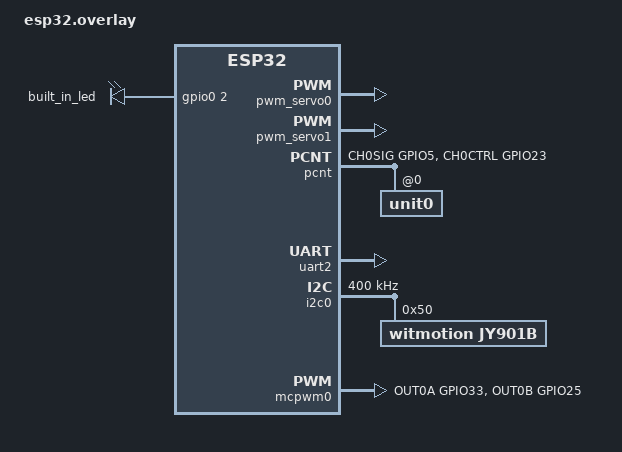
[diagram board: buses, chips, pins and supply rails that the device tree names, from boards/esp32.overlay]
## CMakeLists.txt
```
cmake_minimum_required(VERSION 3.20.0)
set(CMAKE_C_STANDARD 11)

# set(OVERLAY_CONFIG thread_analyzer.conf)
list(APPEND ZEPHYR_EXTRA_MODULES ${CMAKE_CURRENT_LIST_DIR}/libmicroros)

find_package(Zephyr REQUIRED HINTS $ENV{ZEPHYR_BASE})

# must be after finding zephyr
project(nms1)

target_include_directories(app PRIVATE
        include
)
target_sources(app PRIVATE
        src/arm_fir_f32.c
        src/encoder_pcnt.c
        src/main.c
        src/micro_ros.c
        src/nms1.c
)
```

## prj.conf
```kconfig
# peripherials
CONFIG_GPIO=y
CONFIG_PWM=y
CONFIG_SERVO=y

CONFIG_SERIAL=y
CONFIG_UART_INTERRUPT_DRIVEN=y
CONFIG_UART_LINE_CTRL=y

CONFIG_I2C=y

# sensors
CONFIG_SENSOR=y
CONFIG_PCNT_ESP32=y
CONFIG_JY901B=y

# runtime library
CONFIG_NEWLIB_LIBC=y
CONFIG_NEWLIB_LIBC_NANO=n

# posix api
CONFIG_POSIX_API=y
CONFIG_PTHREAD_IPC=n

# os serivices
CONFIG_LOG=y
CONFIG_LOG_DEFAULT_LEVEL=3
CONFIG_PRINTK=y

# thread
CONFIG_MAIN_THREAD_PRIORITY=5
CONFIG_MAIN_STACK_SIZE=1024

# module
# CONFIG_CMSIS_DSP=y
# CONFIG_CMSIS_DSP_FILTERING=y

CONFIG_MICROROS=y
CONFIG_MICROROS_TRANSPORT_SERIAL=y
CONFIG_MICROROS_PUBLISHERS="2"
CONFIG_MICROROS_SUBSCRIBERS="2"
CONFIG_MICROROS_RMW_HISTORIC="10"
```

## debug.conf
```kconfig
# compiler
CONFIG_DEBUG=y
CONFIG_DEBUG_OPTIMIZATIONS=y

# peripherials
CONFIG_SERIAL=y

# os serivices
CONFIG_LOG_DEFAULT_LEVEL=4
CONFIG_ASSERT=y
CONFIG_CONSOLE=y
CONFIG_UART_CONSOLE=y
```

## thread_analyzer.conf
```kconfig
CONFIG_THREAD_ANALYZER=y
CONFIG_THREAD_ANALYZER_USE_PRINTK=y
CONFIG_THREAD_ANALYZER_AUTO=y
CONFIG_THREAD_ANALYZER_AUTO_INTERVAL=5
CONFIG_THREAD_NAME=y
```

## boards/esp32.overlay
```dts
/ {
    aliases {
        encoder = &pcnt;
        imu = &jy901b;

        led = &built_in_led;
        steer-servo = &pwm_servo0;
        motor-servo = &pwm_servo1;

        micro-ros-serial = &uart2;
    };

    leds {
        compatible = "gpio-leds";
        built_in_led: led_0 {
            gpios = <&gpio0 2 GPIO_ACTIVE_HIGH>;
        };
    };

    servos {
        pwm_servo0: pwm_servo0 {
            compatible = "pwm-servo";
            // pwms = <&ledc0 0 PWM_MSEC(20) PWM_POLARITY_NORMAL>;
            pwms = <&mcpwm0 0 PWM_MSEC(20) PWM_POLARITY_NORMAL>;
            min-pulse = <PWM_USEC(1000)>;
            neutral-pulse = <PWM_USEC(1500)>;
            max-pulse = <PWM_USEC(2000)>;
            initial-duty = <0>;
        };
        pwm_servo1: pwm_servo1 {
            compatible = "pwm-servo";
            // pwms = <&ledc0 1 PWM_MSEC(20) PWM_POLARITY_NORMAL>;
            pwms = <&mcpwm0 1 PWM_MSEC(20) PWM_POLARITY_NORMAL>;
            min-pulse = <PWM_USEC(1000)>;
            neutral-pulse = <PWM_USEC(1500)>;
            max-pulse = <PWM_USEC(2000)>;
            initial-duty = <0>;
        };
    };
};

&pinctrl {
    pcnt_default: pcnt_default {
        group1 {
            pinmux = <PCNT0_CH0SIG_GPIO5>, <PCNT0_CH0CTRL_GPIO23>;
            bias-pull-up;
        };
    };

    // ledc_default: ledc_default {
    //     group1 {
    //         pinmux = <LEDC_CH0_GPIO33>, <LEDC_CH1_GPIO25>;
    //         output-enable;
    //     };
    // };

    mcpwm0_default: mcpwm0_default {
      group1 {
        pinmux = <MCPWM0_OUT0A_GPIO33>, <MCPWM0_OUT0B_GPIO25>;
        output-enable;
      };
    };
};

&pcnt {
    pinctrl-0 = <&pcnt_default>;
    pinctrl-names = "default";
    status = "okay";
    #address-cells = <1>;
    #size-cells = <0>;
    unit0@0 {
        reg = <0>;
        filter = <100>;
        #address-cells = <1>;
        #size-cells = <0>;
        channelA@0 {
            reg = <0>;
            sig-pos-mode = <2>;
            sig-neg-mode = <1>;
            ctrl-h-mode = <0>;
            ctrl-l-mode = <1>;
        };
    };
};

&uart2 {
    status = "okay";
};

&i2c0 {
    clock-frequency = <I2C_BITRATE_FAST>;
    jy901b: jy901b@50 {
        compatible = "witmotion,jy901b";
        reg = <0x50>;
        status = "okay";
    };
};

// &ledc0 {
//     pinctrl-0 = <&ledc_default>;
//     pinctrl-names = "default";
//     status = "okay";
//     #address-cells = <1>;
//     #size-cells = <0>;
//     #pwm-cells = <3>;
//     channel0@0 {
//       reg = <0x0>;
//       timer = <0>;
//     };
//     channel1@1 {
//       reg = <0x1>;
//       timer = <0>;
//     };
// };

&mcpwm0 {
    pinctrl-0 = <&mcpwm0_default>;
    pinctrl-names = "default";
    status = "okay";
    prescale = <(160 - 1)>;
    prescale-timer0 = <(100 - 1)>;
};
```

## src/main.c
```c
// zephyr include
#include <zephyr/device.h>
#include <zephyr/drivers/gpio.h>
#include <zephyr/drivers/pwm.h>
#include <zephyr/drivers/sensor.h>
#include <zephyr/drivers/sensor/jy901b.h>
#include <zephyr/kernel.h>
#include <zephyr/logging/log.h>

// micro ros include
#include <microros_transports.h>
#include <rcl/error_handling.h>
#include <rcl/rcl.h>
#include <rclc/executor.h>
#include <rclc/rclc.h>
#include <rmw_microros/rmw_microros.h>

// ros msg include
#include <sensor_msgs/msg/imu.h>

// project include
#include "nms1/common.h"
#include "nms1/nms1.h"

LOG_MODULE_REGISTER(main);

static const struct device *const encoder = DEVICE_DT_GET(DT_ALIAS(encoder));
static const struct device *const imu = DEVICE_DT_GET(DT_ALIAS(imu));

static const struct gpio_dt_spec led = GPIO_DT_SPEC_GET(DT_ALIAS(led), gpios);

static const struct device *const steer = DEVICE_DT_GET(DT_ALIAS(steer_servo));
static const struct device *const drive = DEVICE_DT_GET(DT_ALIAS(motor_servo));

static const struct device *const micro_ros_serial =
    DEVICE_DT_GET(DT_ALIAS(micro_ros_serial));

static struct nms1 nms1;

int main(void) {
  int ret;

  // hardware check
  if (!device_is_ready(encoder)) {
    LOG_ERR("Device %s is not ready.", encoder->name);
    return 0;
  }

  if (!device_is_ready(imu)) {
    LOG_ERR("Device %s is not ready.", imu->name);
    return 0;
  }

  if (!gpio_is_ready_dt(&led)) {
    LOG_ERR("Device %s is not ready.", led.port->name);
    return 0;
  }

  if (!device_is_ready(steer)) {
    LOG_ERR("Device %s is not ready.", steer->name);
    return 0;
  }

  if (!device_is_ready(drive)) {
    LOG_ERR("Device %s is not ready.", drive->name);
    return 0;
  }

  if (!device_is_ready(micro_ros_serial)) {
    LOG_ERR("Device %s is not ready.", micro_ros_serial->name);
    return 0;
  }

  // init
  ret = nms1_init(&nms1, encoder, imu, steer, drive, micro_ros_serial);
  if (ret != 0) {
    LOG_ERR("Failed to init nms1.");
    return ret;
  }

  while (true) {
    k_msleep(1000);
  }
  return 0;
}
```

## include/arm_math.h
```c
/**
 * @file arm_math.h
 * @brief CMSIS-DSP implementation in ANSI C.
 * 
 */

// glibc include
#include <stdint.h>

#ifndef __arm__
#ifndef ARM_MATH_H
#define ARM_MATH_H

typedef float float32_t;

/**
 * @brief Instance structure for the floating-point FIR filter.
 * 
 * @note @p stateIndex is added to make a circular buffer.
 * 
 */
typedef struct {
  uint16_t numTaps;
  uint16_t stateIndex;
  float32_t *pState;
  const float32_t *pCoeffs;
} arm_fir_instance_f32;

/**
 * @brief  Initialization function for the floating-point FIR filter.
 * @param[in,out] S          points to an instance of the floating-point FIR
 * filter structure.
 * @param[in]     numTaps    Number of filter coefficients in the filter.
 * @param[in]     pCoeffs    points to the filter coefficients.
 * @param[in]     pState     points to the state buffer.
 * @param[in]     blockSize  number of samples that are processed at a time.
 */
void arm_fir_init_f32(arm_fir_instance_f32 *S, uint16_t numTaps,
                      const float32_t *pCoeffs, float32_t *pState,
                      uint32_t blockSize);

/**
 * @brief Processing function for the floating-point FIR filter.
 * @param[in]  S          points to an instance of the floating-point FIR
 * structure.
 * @param[in]  pSrc       points to the block of input data.
 * @param[out] pDst       points to the block of output data.
 * @param[in]  blockSize  number of samples to process.
 */
void arm_fir_f32(arm_fir_instance_f32 *S, const float32_t *pSrc,
                 float32_t *pDst, uint32_t blockSize);

#endif  // ARM_MATH_H
#endif  // __arm__
```

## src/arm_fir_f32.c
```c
/**
 * @file arm_fir_f32.c
 * @brief CMSIS-DSP arm_fir_f32 implementation in ANSI C.
 * 
 * Reference design from: [ESP-DSP](https://github.com/espressif/esp-dsp).
 *
 */

// glibc include
#include <string.h>

// arm math include
#include <arm_math.h>

// zephyr include
#include <zephyr/kernel.h>

#ifndef __arm__

void arm_fir_init_f32(arm_fir_instance_f32 *S, uint16_t numTaps,
                      const float32_t *pCoeffs, float32_t *pState,
                      uint32_t blockSize) {
  S->numTaps = numTaps;
  S->stateIndex = 0;
  S->pCoeffs = pCoeffs;

  memset(pState, 0, sizeof(float32_t) * blockSize);
  
  S->pState = pState;
}

void arm_fir_f32(arm_fir_instance_f32 *S, const float32_t *pSrc,
                 float32_t *pDst, uint32_t blockSize) {
  for (int i = 0; i < blockSize; i++) {
    float acc = 0;
    int coeff_pos = 0;
    S->pState[S->stateIndex] = pSrc[i];
    S->stateIndex++;
    if (S->stateIndex >= S->numTaps) {
      S->stateIndex = 0;
    }
    for (int n = S->stateIndex; n < S->numTaps; n++) {
      acc += S->pCoeffs[coeff_pos++] * S->pState[n];
    }
    for (int n = 0; n < S->stateIndex; n++) {
      acc += S->pCoeffs[coeff_pos++] * S->pState[n];
    }
    pDst[i] = acc;
  }
}

#endif  // __arm__
```

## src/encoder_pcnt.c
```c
#include "nms1/encoder_pcnt.h"

// glibc include
#include <stdbool.h>
#include <stdint.h>

// zephyr include
#include <zephyr/device.h>
#include <zephyr/drivers/sensor.h>
#include <zephyr/logging/log.h>
#include <zephyr/sys/util.h>

LOG_MODULE_REGISTER(encoder_pcnt);

/* static function declaration -----------------------------------------------*/
static void encoder_pcnt_trigger_handler(const struct device* dev,
                                         const struct sensor_trigger* trig);

/* function definition -------------------------------------------------------*/
int encoder_pcnt_init(struct encoder_pcnt* encoder, const struct device* pcnt) {
  encoder->dev = pcnt;
  encoder->trig = (struct sensor_trigger){
      .chan = SENSOR_CHAN_ROTATION,
      .type = SENSOR_TRIG_THRESHOLD,
  };
  encoder->triggered = false;
  encoder->wrapped_times = 0;

  int ret;
  struct sensor_value val;

  val.val1 = 32767;
  ret = sensor_attr_set(encoder->dev, SENSOR_CHAN_ROTATION,
                        SENSOR_ATTR_UPPER_THRESH, &val);
  if (ret != 0) {
    LOG_ERR("Device %s failed to set upper threshold.\n", encoder->dev->name);
    return ret;
  }

  val.val1 = -32767;
  ret = sensor_attr_set(encoder->dev, SENSOR_CHAN_ROTATION,
                        SENSOR_ATTR_LOWER_THRESH, &val);
  if (ret != 0) {
    LOG_ERR("Device %s failed to set lower threshold.\n", encoder->dev->name);
    return ret;
  }

  ret = sensor_trigger_set(encoder->dev, &encoder->trig,
                           encoder_pcnt_trigger_handler);
  if (ret != 0) {
    LOG_ERR("Device %s failed to set trigger.\n", encoder->dev->name);
    return ret;
  }

  return 0;
}

int encoder_pcnt_get_count(const struct encoder_pcnt* encoder, int64_t* count) {
  int ret;
  struct sensor_value val;

  ret = sensor_sample_fetch(encoder->dev);
  if (ret != 0) {
    LOG_ERR("Device %s failed to fetch sample.\n", encoder->dev->name);
    return ret;
  }

  ret = sensor_channel_get(encoder->dev, SENSOR_CHAN_ROTATION, &val);
  if (ret != 0) {
    LOG_ERR("Device %s failed to get data.\n", encoder->dev->name);
    return ret;
  }

  *count = encoder->wrapped_times * ENCODER_PCNT_TOTAL_COUNT + val.val1;

  return 0;
}

/* static function definition ------------------------------------------------*/
static void encoder_pcnt_trigger_handler(const struct device* dev,
                                         const struct sensor_trigger* trig) {
  struct encoder_pcnt* encoder = CONTAINER_OF(trig, struct encoder_pcnt, trig);

  int ret;
  struct sensor_value val;

  ret = sensor_sample_fetch(dev);
  if (ret != 0) {
    LOG_WRN("Device %s failed to fetch sample. Return code %d.\n", dev->name,
            ret);
    return;
  }

  ret = sensor_channel_get(dev, SENSOR_CHAN_ROTATION, &val);
  if (ret != 0) {
    LOG_WRN("Device %s failed to get data. Return code %d.\n", dev->name, ret);
    return;
  }

  if (encoder->triggered) {
    if (val.val1 > 0) {
      encoder->wrapped_times--;
    } else {
      encoder->wrapped_times++;
    }
    encoder->triggered = false;
  } else {
    encoder->triggered = true;
  }
}
```

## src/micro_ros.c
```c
#include "nms1/micro_ros.h"

// glibc include
#include <string.h>

// zephyr include
#include <zephyr/device.h>
#include <zephyr/drivers/sensor/jy901b.h>
#include <zephyr/kernel.h>
#include <zephyr/logging/log.h>
#include <zephyr/sys/util.h>

// micro ros include
#include <microros_transports.h>
#include <rcl/error_handling.h>
#include <rcl/rcl.h>
#include <rclc/executor.h>
#include <rclc/rclc.h>
#include <rmw_microros/rmw_microros.h>

// ros msg include
#include <sensor_msgs/msg/imu.h>
#include <std_msgs/msg/float32.h>

// project include
#include "nms1/common.h"
#include "nms1/nms1.h"

LOG_MODULE_REGISTER(micro_ros);

/* static function declation -------------------------------------------------*/
static void micro_ros_entry_point(void* arg1, void* arg2, void* arg3);

static int __micro_ros_init(struct micro_ros* micro_ros,
                            const struct device* serial);

static int __micro_ros_update(struct micro_ros* micro_ros);

static int __micro_ros_pub_imu(const struct micro_ros* micro_ros,
                               const struct imu_data* imu_data);

static int __micro_ros_pub_speed(const struct micro_ros* micro_ros,
                                 float speed);

static void onTargetSteer(const void* msg);

static void onTargetSpeed(const void* msg);

static void micro_ros_timer_cb(struct k_timer* timer);

/* static variable -----------------------------------------------------------*/
/// @todo: Should not be singleton
K_THREAD_STACK_DEFINE(micro_ros_stack_area, MICRO_ROS_STACK_SIZE);

/* function definition -------------------------------------------------------*/
int micro_ros_init(struct micro_ros* micro_ros, const struct device* serial) {
  k_msgq_init(&micro_ros->task_queue, micro_ros->task_queue_buf,
              sizeof(struct micro_ros_task), MICRO_ROS_TASK_QUEUE_SIZE);

  k_tid_t tid = k_thread_create(&micro_ros->micro_ros_thread,
                                micro_ros_stack_area, MICRO_ROS_STACK_SIZE,
                                micro_ros_entry_point, micro_ros, (void*)serial,
                                NULL, MICRO_ROS_THREAD_PRIORITY, 0, K_NO_WAIT);

  k_thread_name_set(tid, "micro_ros");

  // wait for micro ros init to finish in micro_ros thread
  struct micro_ros_task task;
  k_msgq_get(&micro_ros->task_queue, &task, K_FOREVER);

  return task.init.ret;
}

int micro_ros_pub_imu(struct micro_ros* micro_ros,
                      const struct imu_data* imu_data) {
  static struct micro_ros_task task = {
      .id = MICRO_ROS_TASK_PUB_IMU,
  };
  memcpy(&task.pub_imu.imu_data, imu_data, sizeof(struct imu_data));

  if (k_msgq_put(&micro_ros->task_queue, &task, K_NO_WAIT)) {
    return -EBUSY;
  }

  return 0;
}

int micro_ros_pub_speed(struct micro_ros* micro_ros, float speed) {
  static struct micro_ros_task task = {
      .id = MICRO_ROS_TASK_PUB_SPEED,
  };
  task.pub_speed.speed = speed;

  if (k_msgq_put(&micro_ros->task_queue, &task, K_NO_WAIT)) {
    return -EBUSY;
  }

  return 0;
}

/* static function definition ------------------------------------------------*/
static void micro_ros_entry_point(void* arg1, void* arg2, void* arg3) {
  struct micro_ros* micro_ros = arg1;
  const struct device* micro_ros_serial = arg2;

  int ret;
  ret = __micro_ros_init(micro_ros, micro_ros_serial);

  struct micro_ros_task task = {
      .id = MICRO_ROS_TASK_INIT,
      .init.ret = ret,
  };
  k_msgq_put(&micro_ros->task_queue, &task, K_NO_WAIT);

  if (ret != 0) {
    return;
  }

  // wait for init ret to be read from task_queue
  k_sleep(K_MSEC(10));

  while (true) {
    k_msgq_get(&micro_ros->task_queue, &task, K_FOREVER);

    switch (task.id) {
      case MICRO_ROS_TASK_UPDATE:
        ret = __micro_ros_update(micro_ros);
        if (ret != 0) {
          LOG_WRN("Failed to update micro ros. Return code %d.", ret);
        }
        break;

      case MICRO_ROS_TASK_PUB_IMU:
        ret = __micro_ros_pub_imu(micro_ros, &task.pub_imu.imu_data);
        if (ret != 0) {
          LOG_WRN("Failed to publish imu data. Return code %d.", ret);
        }
        break;

      case MICRO_ROS_TASK_PUB_SPEED:
        ret = __micro_ros_pub_speed(micro_ros, task.pub_speed.speed);
        if (ret != 0) {
          LOG_WRN("Failed to publish encoder data. Return code %d.", ret);
        }
        break;

      default:
        break;
    }
  }
}

static int __micro_ros_init(struct micro_ros* micro_ros,
                            const struct device* serial) {
  if (rmw_uros_set_custom_transport(
          MICRO_ROS_FRAMING_REQUIRED, (void*)serial, zephyr_transport_open,
          zephyr_transport_close, zephyr_transport_write,
          zephyr_transport_read) != RCL_RET_OK) {
    LOG_ERR("Failed to set rmw_uros serial transport.");
    goto err;
  }

  micro_ros->allocator = rcl_get_default_allocator();

  if (rclc_support_init(&micro_ros->support, 0, NULL, &micro_ros->allocator) !=
      RCL_RET_OK) {
    LOG_ERR("Failed to init rclc support.");
    goto err;
  }

  if (rclc_node_init_default(&micro_ros->node, MICRO_ROS_NODE_NAME,
                             MICRO_ROS_NODE_NAMESPACE,
                             &micro_ros->support) != RCL_RET_OK) {
    LOG_ERR("Failed to init ros node.");
    goto err_fini_support;
  }

  if (rclc_publisher_init_best_effort(
          &micro_ros->imu_pub, &micro_ros->node,
          ROSIDL_GET_MSG_TYPE_SUPPORT(sensor_msgs, msg, Imu),
          "imu") != RCL_RET_OK) {
    LOG_ERR("Failed to init ros publisher \"imu\".");
    goto err_fini_node;
  }

  if (rclc_publisher_init_best_effort(
          &micro_ros->speed_pub, &micro_ros->node,
          ROSIDL_GET_MSG_TYPE_SUPPORT(std_msgs, msg, Float32),
          "speed") != RCL_RET_OK) {
    LOG_ERR("Failed to init ros publisher \"speed\".");
    goto err_fini_node;
  }

  if (rclc_subscription_init_best_effort(
          &micro_ros->target_steer_sub, &micro_ros->node,
          ROSIDL_GET_MSG_TYPE_SUPPORT(std_msgs, msg, Float32),
          "target_steer") != RCL_RET_OK) {
    LOG_ERR("Failed to init ros subscriber \"target_steer\".");
    goto err_fini_node;
  }

  if (rclc_subscription_init_best_effort(
          &micro_ros->target_speed_sub, &micro_ros->node,
          ROSIDL_GET_MSG_TYPE_SUPPORT(std_msgs, msg, Float32),
          "target_speed") != RCL_RET_OK) {
    LOG_ERR("Failed to init ros subscriber \"target_speed\".");
    goto err_fini_node;
  }

  if (rclc_executor_init(&micro_ros->executor, &micro_ros->support.context, 2,
                         &micro_ros->allocator) != RCL_RET_OK) {
    LOG_ERR("Failed to init rclc executor.");
    goto err_fini_trans;
  }

  if (rclc_executor_add_subscription(
          &micro_ros->executor, &micro_ros->target_steer_sub,
          &micro_ros->target_steer_msg, onTargetSteer,
          ON_NEW_DATA) != RCL_RET_OK) {
    LOG_ERR("Failed to add subscription callback.");
    goto err_fini_trans;
  }

  if (rclc_executor_add_subscription(
          &micro_ros->executor, &micro_ros->target_speed_sub,
          &micro_ros->target_speed_msg, onTargetSpeed,
          ON_NEW_DATA) != RCL_RET_OK) {
    LOG_ERR("Failed to add subscription callback.");
    goto err_fini_trans;
  }

  if (rmw_uros_sync_session(5000) != RCL_RET_OK) {
    LOG_WRN("Failed to syncronize ros time.");
  }

  // start timer to trigger micro ros update
  k_timer_init(&micro_ros->update_timer, micro_ros_timer_cb, NULL);
  k_timer_start(&micro_ros->update_timer, K_NO_WAIT,
                K_MSEC(MICRO_ROS_UPDATE_PERIOD));

  return 0;

  // inhibit unused-result warning since we're cleaning up
#pragma GCC diagnostic push
#pragma GCC diagnostic ignored "-Wunused-result"

err_fini_trans:
  (void)rcl_publisher_fini(&micro_ros->imu_pub, &micro_ros->node);
  (void)rcl_publisher_fini(&micro_ros->speed_pub, &micro_ros->node);
  (void)rcl_subscription_fini(&micro_ros->target_steer_sub, &micro_ros->node);
  (void)rcl_subscription_fini(&micro_ros->target_speed_sub, &micro_ros->node);

err_fini_node:
  (void)rcl_node_fini(&micro_ros->node);

err_fini_support:
  rclc_support_fini(&micro_ros->support);

err:
  return -EIO;

#pragma GCC diagnostic pop
}

static int __micro_ros_update(struct micro_ros* micro_ros) {
  int ret;
  ret = rclc_executor_spin_some(&micro_ros->executor, RCL_MS_TO_NS(5));
  if (ret == RCL_RET_ERROR) {
    LOG_ERR("Failed to spin some.");
    return -EIO;
  }

  return 0;
}

static int __micro_ros_pub_imu(const struct micro_ros* micro_ros,
                               const struct imu_data* imu_data) {
  static const float accel_var = (JY901B_ACCEL_STD * SENSOR_G / 1000000) *
                                 (JY901B_ACCEL_STD * SENSOR_G / 1000000);
  static const float gyro_var = (JY901B_GYRO_STD * SENSOR_PI / 180 / 1000000) *
                                (JY901B_GYRO_STD * SENSOR_PI / 180 / 1000000);
  static const float orien_roll_pitch_var =
      JY901B_ORIEN_ROLL_PITCH_STD * JY901B_ORIEN_ROLL_PITCH_STD;
  static const float orien_yaw_var =
      JY901B_ORIEN_YAW_STD * JY901B_ORIEN_YAW_STD;

  static sensor_msgs__msg__Imu msg = {
      .header.frame_id.data = "imu",
      .linear_acceleration_covariance =
          {
              [0] = accel_var,
              [4] = accel_var,
              [8] = accel_var,
          },
      .angular_velocity_covariance =
          {
              [0] = gyro_var,
              [4] = gyro_var,
              [8] = gyro_var,
          },
      .orientation_covariance =
          {
              [0] = orien_roll_pitch_var,
              [4] = orien_roll_pitch_var,
              [8] = orien_yaw_var,
          },
  };

  if (rmw_uros_epoch_synchronized()) {
    int64_t nano = rmw_uros_epoch_nanos();
    msg.header.stamp.sec = nano / 1000000000;
    msg.header.stamp.nanosec = nano % 1000000000;
  }

  msg.orientation.w = imu_data->quat[0];
  msg.orientation.x = imu_data->quat[1];
  msg.orientation.y = imu_data->quat[2];
  msg.orientation.z = imu_data->quat[3];

  msg.angular_velocity.x = imu_data->gyro[0];
  msg.angular_velocity.y = imu_data->gyro[1];
  msg.angular_velocity.z = imu_data->gyro[2];

  msg.linear_acceleration.x = imu_data->accel[0];
  msg.linear_acceleration.y = imu_data->accel[1];
  msg.linear_acceleration.z = imu_data->accel[2];

  if (rcl_publish(&micro_ros->imu_pub, &msg, NULL) != RCL_RET_OK) {
    LOG_ERR("Failed to publish imu data.");
    return -EIO;
  }

  return 0;
}

static int __micro_ros_pub_speed(const struct micro_ros* micro_ros,
                                 float speed) {
  static std_msgs__msg__Float32 msg;

  msg.data = speed;

  if (rcl_publish(&micro_ros->speed_pub, &msg, NULL) != RCL_RET_OK) {
    LOG_ERR("Failed to publish encoder data.");
    return -EIO;
  }

  return 0;
}

static void onTargetSteer(const void* msg) {
  struct micro_ros* micro_ros =
      CONTAINER_OF(msg, struct micro_ros, target_steer_msg);
  struct nms1* nms1 = CONTAINER_OF(micro_ros, struct nms1, micro_ros);

  nms1_steer_command(nms1, micro_ros->target_steer_msg.data);
}

static void onTargetSpeed(const void* msg) {
  struct micro_ros* micro_ros =
      CONTAINER_OF(msg, struct micro_ros, target_speed_msg);
  struct nms1* nms1 = CONTAINER_OF(micro_ros, struct nms1, micro_ros);

  nms1_drive_command(nms1, micro_ros->target_speed_msg.data);
}

static void micro_ros_timer_cb(struct k_timer* timer) {
  struct micro_ros* micro_ros =
      CONTAINER_OF(timer, struct micro_ros, update_timer);

  static const struct micro_ros_task task = {
      .id = MICRO_ROS_TASK_UPDATE,
  };
  k_msgq_put(&micro_ros->task_queue, &task, K_NO_WAIT);
}
```

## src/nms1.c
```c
#include "nms1/nms1.h"

// zephyr include
#include <zephyr/drivers/sensor.h>
#include <zephyr/drivers/sensor/jy901b.h>
#include <zephyr/drivers/servo.h>
#include <zephyr/kernel.h>
#include <zephyr/logging/log.h>
#include <zephyr/sys/util.h>

// project include
#include "nms1/common.h"
#include "nms1/micro_ros.h"

LOG_MODULE_REGISTER(nms1);

/* static function declaration -----------------------------------------------*/
static int steer_angle_to_servo_duty(float angle);

static int drive_speed_to_servo_duty(float speed);

static void nms1_imu_timer_cb(struct k_timer* timer);

static void nms1_encoder_timer_cb(struct k_timer* timer);

static void nms1_drive_timer_cb(struct k_timer* timer);

static void nms1_imu_work_handler(struct k_work* work);

/* function definition -------------------------------------------------------*/
int nms1_init(struct nms1* nms1, const struct device* pcnt,
              const struct device* imu, const struct device* steer,
              const struct device* drive,
              const struct device* micro_ros_serial) {
  static const float speed_filter_cof[NMS1_SPEED_FIR_SIZE] = {
      [0 ... NMS1_SPEED_FIR_SIZE - 1] = 1.0F / NMS1_SPEED_FIR_SIZE,
  };
  static const float drive_filter_cof[NMS1_DRIVE_FIR_SIZE] = {
      [0 ... NMS1_DRIVE_FIR_SIZE - 1] = 1.0F / NMS1_DRIVE_FIR_SIZE,
  };

  // device
  nms1->imu = imu;

  nms1->steer = steer;
  nms1->drive = drive;

  // kernel object
  k_timer_init(&nms1->imu_timer, nms1_imu_timer_cb, NULL);
  k_timer_init(&nms1->encoder_timer, nms1_encoder_timer_cb, NULL);
  k_timer_init(&nms1->drive_timer, nms1_drive_timer_cb, NULL);

  k_work_init(&nms1->imu_work, nms1_imu_work_handler);

  int ret;
  ret = encoder_pcnt_init(&nms1->encoder, pcnt);
  if (ret != 0) {
    LOG_ERR("Failed to init encoder.");
    return ret;
  }

  ret = micro_ros_init(&nms1->micro_ros, micro_ros_serial);
  if (ret != 0) {
    LOG_ERR("Failed to init micro ros.");
    return ret;
  }

  // project data
  arm_fir_init_f32(&nms1->speed_filter, NMS1_SPEED_FIR_SIZE, speed_filter_cof,
                   nms1->speed_filter_buf, 1);
  arm_fir_init_f32(&nms1->drive_filter, NMS1_DRIVE_FIR_SIZE, drive_filter_cof,
                   nms1->drive_filter_buf, 1);

  // start
  k_timer_start(&nms1->imu_timer, K_NO_WAIT, K_MSEC(NMS1_IMU_UPDATE_PERIOD));
  k_timer_start(&nms1->encoder_timer, K_NO_WAIT,
                K_MSEC(NMS1_ENCODER_UPDATE_PERIOD));
  k_timer_start(&nms1->drive_timer, K_NO_WAIT,
                K_MSEC(NMS1_DRIVE_UPDATE_PERIOD));

  return 0;
}

int nms1_steer_command(const struct nms1* nms1, float angle) {
  int ret;
  ret = servo_set(nms1->steer, steer_angle_to_servo_duty(angle));
  if (ret != 0) {
    LOG_ERR("Failed to set steer angle.");
    return ret;
  }

  return 0;
}

int nms1_drive_command( struct nms1* nms1, float speed) {
  atomic_set(&nms1->drive_command, PUN_TO_LONG(speed));

  return 0;
}

/* static function definition ------------------------------------------------*/
static int steer_angle_to_servo_duty(float angle) {
  return angle / NMS1_STEER_GEAR_RATIO * SERVO_MAX_DUTY;
}

static int drive_speed_to_servo_duty(float speed) {
  return speed * SERVO_MAX_DUTY;
}

static void nms1_imu_timer_cb(struct k_timer* timer) {
  struct nms1* nms1 = CONTAINER_OF(timer, struct nms1, imu_timer);

  // submit imu work to system work queue to avoid running in ISR context
  k_work_submit(&nms1->imu_work);
}

static void nms1_encoder_timer_cb(struct k_timer* timer) {
  struct nms1* nms1 = CONTAINER_OF(timer, struct nms1, encoder_timer);

  int ret;
  int64_t count;
  ret = encoder_pcnt_get_count(&nms1->encoder, &count);
  if (ret != 0) {
    LOG_ERR("Failed to update encoder.");
    return;
  }

  float raw_speed = (float)(count - nms1->encoder_count_last) *
                    NMS1_ENCODER_COUNT_TO_SPEED * 1000 /
                    NMS1_ENCODER_UPDATE_PERIOD;
  nms1->encoder_count_last = count;

  float speed;
  arm_fir_f32(&nms1->speed_filter, &raw_speed, &speed, 1);

  ret = micro_ros_pub_speed(&nms1->micro_ros, speed);
  if (ret != 0) {
    LOG_ERR("Failed to publish encoder data. Return code %d.", ret);
    return;
  }
}

static void nms1_drive_timer_cb(struct k_timer* timer) {
  struct nms1* nms1 = CONTAINER_OF(timer, struct nms1, drive_timer);

  int ret;
  float drive = PUN_TO_FLOAT((nms1->drive_command));

  float filtered_drive;
  arm_fir_f32(&nms1->drive_filter, &drive, &filtered_drive, 1);

  ret = servo_set(nms1->drive, drive_speed_to_servo_duty(filtered_drive));
  if (ret != 0) {
    LOG_ERR("Failed to set drive speed.");
  }
}

static void nms1_imu_work_handler(struct k_work* work) {
  struct nms1* nms1 = CONTAINER_OF(work, struct nms1, imu_work);

  int ret;
  ret = sensor_sample_fetch(nms1->imu);
  if (ret != 0) {
    LOG_WRN("Device %s failed to fetch sample. Return code %d.",
            nms1->imu->name, ret);
    return;
  }

  struct sensor_value val[4];
  sensor_channel_get(nms1->imu, SENSOR_CHAN_ACCEL_XYZ, val);
  nms1->imu_data.accel[0] = sensor_value_to_float(val);
  nms1->imu_data.accel[1] = sensor_value_to_float(val + 1);
  nms1->imu_data.accel[2] = sensor_value_to_float(val + 2);

  sensor_channel_get(nms1->imu, SENSOR_CHAN_GYRO_XYZ, val);
  nms1->imu_data.gyro[0] = sensor_value_to_float(val);
  nms1->imu_data.gyro[1] = sensor_value_to_float(val + 1);
  nms1->imu_data.gyro[2] = sensor_value_to_float(val + 2);

  sensor_channel_get(nms1->imu, SENSOR_CHAN_QUAT_WXYZ, val);
  nms1->imu_data.quat[0] = sensor_value_to_float(val);
  nms1->imu_data.quat[1] = sensor_value_to_float(val + 1);
  nms1->imu_data.quat[2] = sensor_value_to_float(val + 2);
  nms1->imu_data.quat[3] = sensor_value_to_float(val + 3);

  // publish imu data
  ret = micro_ros_pub_imu(&nms1->micro_ros, &nms1->imu_data);
  if (ret != 0) {
    LOG_ERR("Failed to publish imu data. Return code %d.", ret);
    return;
  }
}
```
